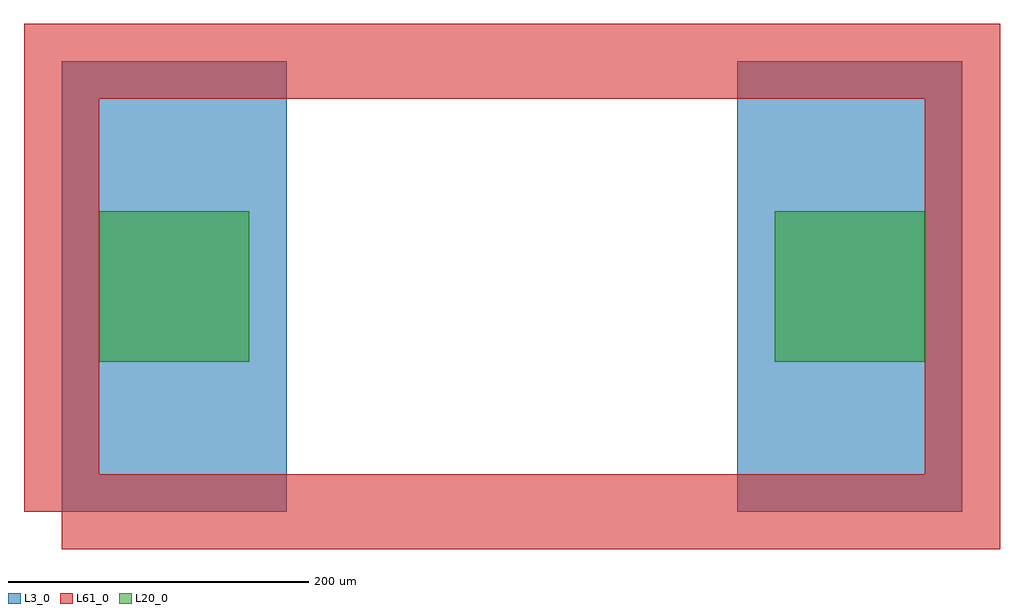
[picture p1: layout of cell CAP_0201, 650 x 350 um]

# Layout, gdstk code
import gdstk
lib = gdstk.Library(unit=1e-6, precision=1e-09)
def R(c, l, rs):  # rectangles x0, y0, x1, y1
    for r in rs: c.add(gdstk.rectangle(r[:2], r[2:], *l))
L3_0 = (3, 0)
L20_0 = (20, 0)
L61_0 = (61, 0)

cap_0201 = lib.new_cell('CAP_0201')
R(cap_0201, L3_0, [(0,0,150,300), (450,0,600,300)])
R(cap_0201, L20_0, [(25,100,125,200), (475,100,575,200)])
cap_0201.add(gdstk.FlexPath([(0,0),(600,0),(600,300),(0,300),(0,0)], 50, ends="flush", simple_path=True, layer=61, datatype=0))  # L61_0

lib.write_gds('CAP_0201.gds')
